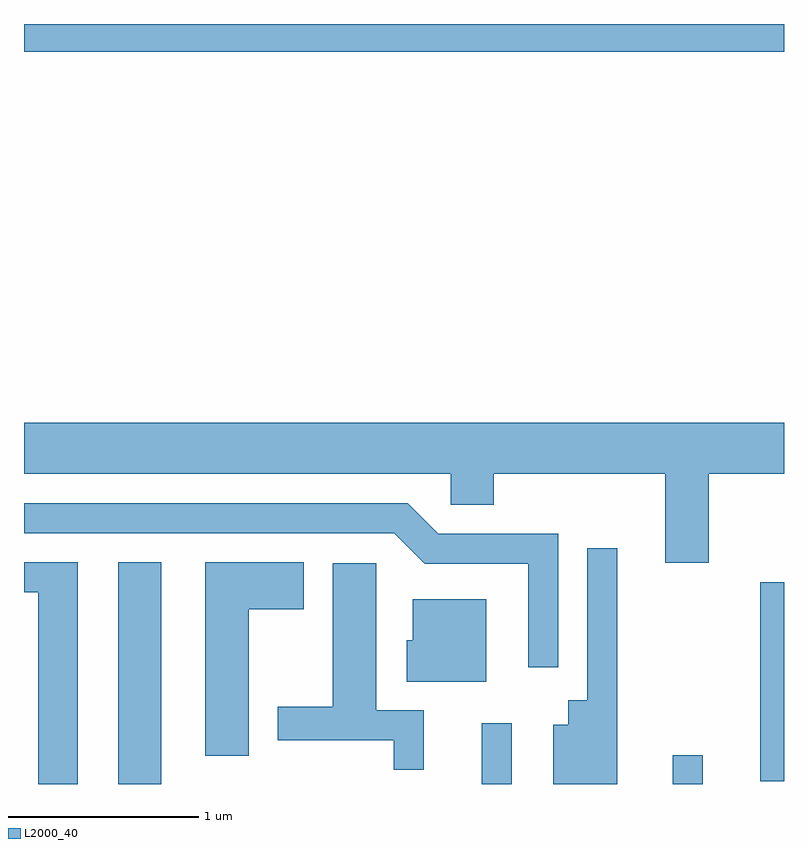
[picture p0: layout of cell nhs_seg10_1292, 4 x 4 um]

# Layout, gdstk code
import gdstk
lib = gdstk.Library(unit=1e-6, precision=1e-09)
def R(c, l, rs):  # rectangles x0, y0, x1, y1
    for r in rs: c.add(gdstk.rectangle(r[:2], r[2:], *l))
def P(c, l, *ps):  # polygons
    for p in ps: c.add(gdstk.Polygon(p, *l))
L2000_40 = (2000, 40)

nhs_seg10_1292 = lib.new_cell('nhs_seg10_1292')
R(nhs_seg10_1292, L2000_40, [(224.106,2094.522,224.334,2095.689), (226.021,2094.522,226.179,2094.843), (227.026,2094.522,227.184,2094.673), (227.486,2094.536,227.611,2095.584), (223.611,2098.376,227.611,2098.522)])
P(nhs_seg10_1292, L2000_40, [(227.214,2096.156),(227.611,2096.156),(227.611,2096.424),(223.611,2096.424),(223.611,2096.156),(225.856,2096.156),(225.856,2095.991),(226.084,2095.991),(226.084,2096.156),(226.986,2096.156),(226.986,2095.686),(227.214,2095.686)],
  [(226.424,2095.839),(225.792,2095.839),(225.632,2095.999),(223.611,2095.999),(223.611,2095.841),(225.559,2095.841),(225.719,2095.681),(226.266,2095.681),(226.266,2095.137),(226.424,2095.137)],
  [(226.734,2095.762),(226.576,2095.762),(226.576,2094.964),(226.476,2094.964),(226.476,2094.834),(226.396,2094.834),(226.396,2094.522),(226.734,2094.522)],
  [(224.794,2095.441),(225.084,2095.441),(225.084,2095.689),(224.566,2095.689),(224.566,2094.671),(224.794,2094.671)],
  [(223.894,2095.689),(223.611,2095.689),(223.611,2095.531),(223.686,2095.531),(223.686,2094.522),(223.894,2094.522)],
  [(225.714,2094.909),(225.464,2094.909),(225.464,2095.684),(225.236,2095.684),(225.236,2094.929),(224.946,2094.929),(224.946,2094.751),(225.556,2094.751),(225.556,2094.597),(225.714,2094.597)],
  [(226.044,2095.494),(225.656,2095.494),(225.656,2095.279),(225.626,2095.279),(225.626,2095.061),(226.044,2095.061)])

lib.write_gds('nhs_seg10_1292.gds')
